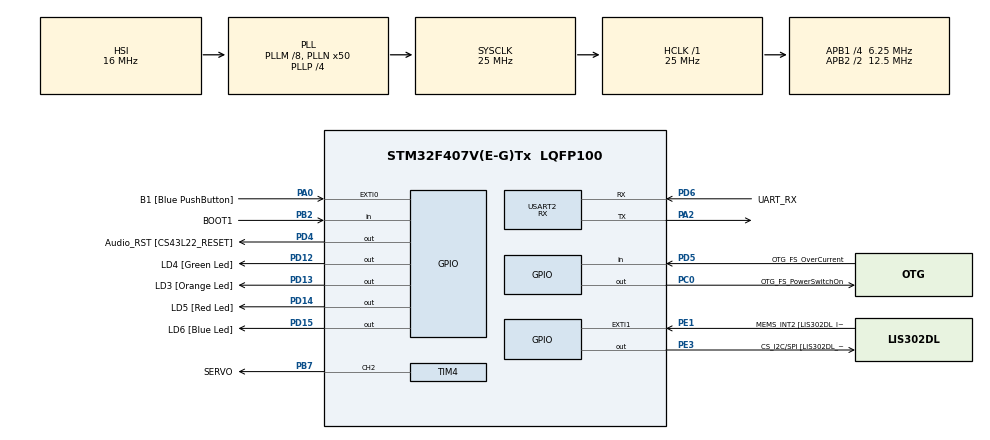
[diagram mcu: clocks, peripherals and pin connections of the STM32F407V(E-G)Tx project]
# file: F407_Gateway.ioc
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Mcu.Family=STM32F4
Mcu.Name=STM32F407V(E-G)Tx
Mcu.Package=LQFP100
NVIC.EXTI0_IRQn=true\:0\:0\:false\:false\:true\:true\:true\:true
NVIC.PriorityGroup=NVIC_PRIORITYGROUP_0
NVIC.TIM4_IRQn=true\:0\:0\:false\:false\:true\:true\:true\:true
NVIC.USART2_IRQn=true\:0\:0\:false\:false\:true\:true\:true\:true
PA0-WKUP.GPIO_Label=B1 [Blue PushButton]
PA0-WKUP.Signal=GPXTI0
PA10.GPIO_Label=OTG_FS_ID
PA10.GPIO_Mode=GPIO_MODE_AF_PP
PA10.GPIO_PuPd=GPIO_NOPULL
PA10.GPIO_Speed=GPIO_SPEED_FREQ_LOW
PA10.Signal=USB_OTG_FS_ID
PA11.GPIO_Label=OTG_FS_DM
PA11.GPIO_Mode=GPIO_MODE_AF_PP
PA11.GPIO_PuPd=GPIO_NOPULL
PA11.GPIO_Speed=GPIO_SPEED_FREQ_LOW
PA11.Signal=USB_OTG_FS_DM
PA12.GPIO_Label=OTG_FS_DP
PA12.GPIO_Mode=GPIO_MODE_AF_PP
PA12.GPIO_PuPd=GPIO_NOPULL
PA12.GPIO_Speed=GPIO_SPEED_FREQ_LOW
PA12.Signal=USB_OTG_FS_DP
PA13.GPIO_Label=SWDIO
PA13.Mode=Serial_Wire
PA13.Signal=SYS_JTMS-SWDIO
PA14.GPIO_Label=SWCLK
PA14.Mode=Serial_Wire
PA14.Signal=SYS_JTCK-SWCLK
PA2.Mode=Asynchronous
PA2.Signal=USART2_TX
PA4.GPIO_Label=I2S3_WS [CS43L22_LRCK]
PA4.GPIO_Mode=GPIO_MODE_AF_PP
PA4.GPIO_PuPd=GPIO_NOPULL
PA4.GPIO_Speed=GPIO_SPEED_FREQ_LOW
PA4.Signal=I2S3_WS
PA5.GPIO_Label=SPI1_SCK [LIS302DL_SCL/SPC]
PA5.GPIO_Mode=GPIO_MODE_AF_PP
PA5.GPIO_PuPd=GPIO_NOPULL
PA5.GPIO_Speed=GPIO_SPEED_FREQ_LOW
PA5.Signal=SPI1_SCK
PA6.GPIO_Label=SPI1_MISO [LIS302DL_SDO]
PA6.GPIO_Mode=GPIO_MODE_AF_PP
PA6.GPIO_PuPd=GPIO_NOPULL
PA6.GPIO_Speed=GPIO_SPEED_FREQ_LOW
PA6.Signal=SPI1_MISO
PA7.GPIO_Label=SPI1_MOSI [LIS302DL_SDA/SDI/SDO]
PA7.GPIO_Mode=GPIO_MODE_AF_PP
PA7.GPIO_PuPd=GPIO_NOPULL
PA7.GPIO_Speed=GPIO_SPEED_FREQ_LOW
PA7.Signal=SPI1_MOSI
PA9.GPIO_Label=VBUS_FS
PA9.GPIO_Mode=GPIO_MODE_INPUT
PA9.GPIO_PuPd=GPIO_NOPULL
PA9.Signal=USB_OTG_FS_VBUS
PB10.GPIO_Label=CLK_IN [MP45DT02_CLK]
PB10.GPIO_Mode=GPIO_MODE_AF_PP
PB10.GPIO_PuPd=GPIO_NOPULL
PB10.GPIO_Speed=GPIO_SPEED_FREQ_LOW
PB10.Signal=I2S2_CK
PB2.GPIO_Label=BOOT1
PB2.GPIO_Mode=GPIO_MODE_INPUT
PB2.GPIO_PuPd=GPIO_NOPULL
PB2.Signal=GPIO_Input
PB3.GPIO_Label=SWO
PB3.Signal=SYS_JTDO-SWO
PB6.GPIO_Label=Audio_SCL [CS43L22_SCL]
PB6.GPIO_Mode=GPIO_MODE_AF_OD
PB6.GPIO_PuPd=GPIO_NOPULL
PB6.GPIO_Speed=GPIO_SPEED_FREQ_LOW
PB6.Signal=I2C1_SCL
PB7.GPIO_Label=SERVO
PB7.Signal=S_TIM4_CH2
PB9.GPIO_Label=Audio_SDA [CS43L22_SDA]
PB9.GPIO_Mode=GPIO_MODE_AF_OD
PB9.GPIO_PuPd=GPIO_NOPULL
PB9.GPIO_Speed=GPIO_SPEED_FREQ_LOW
PB9.Signal=I2C1_SDA
PC0.GPIO_Label=OTG_FS_PowerSwitchOn
PC0.GPIO_PuPd=GPIO_NOPULL
PC0.GPIO_Speed=GPIO_SPEED_FREQ_LOW
PC0.PinState=GPIO_PIN_SET
PC0.Signal=GPIO_Output
PC10.GPIO_Label=I2S3_SCK [CS43L22_SCLK]
PC10.GPIO_Mode=GPIO_MODE_AF_PP
PC10.GPIO_PuPd=GPIO_NOPULL
PC10.GPIO_Speed=GPIO_SPEED_FREQ_LOW
PC10.Signal=I2S3_CK
PC12.GPIO_Label=I2S3_SD [CS43L22_SDIN]
PC12.GPIO_Mode=GPIO_MODE_AF_PP
PC12.GPIO_PuPd=GPIO_NOPULL
PC12.GPIO_Speed=GPIO_SPEED_FREQ_LOW
PC12.Signal=I2S3_SD
PC14-OSC32_IN.GPIO_Label=PC14-OSC32_IN
PC14-OSC32_IN.Signal=RCC_OSC32_IN
PC15-OSC32_OUT.GPIO_Label=PC15-OSC32_OUT
PC15-OSC32_OUT.Signal=RCC_OSC32_OUT
PC3.GPIO_Label=PDM_OUT [MP45DT02_DOUT]
PC3.GPIO_Mode=GPIO_MODE_AF_PP
PC3.GPIO_PuPd=GPIO_NOPULL
PC3.GPIO_Speed=GPIO_SPEED_FREQ_LOW
PC3.Signal=I2S2_SD
PC7.GPIO_Label=I2S3_MCK [CS43L22_MCLK]
PC7.GPIO_Mode=GPIO_MODE_AF_PP
PC7.GPIO_PuPd=GPIO_NOPULL
PC7.GPIO_Speed=GPIO_SPEED_FREQ_LOW
PC7.Signal=I2S3_MCK
PD12.GPIO_Label=LD4 [Green Led]
PD12.GPIO_PuPd=GPIO_NOPULL
PD12.GPIO_Speed=GPIO_SPEED_FREQ_LOW
PD12.Signal=GPIO_Output
PD13.GPIO_Label=LD3 [Orange Led]
PD13.GPIO_PuPd=GPIO_NOPULL
PD13.GPIO_Speed=GPIO_SPEED_FREQ_LOW
PD13.Signal=GPIO_Output
PD14.GPIO_Label=LD5 [Red Led]
PD14.GPIO_PuPd=GPIO_NOPULL
PD14.GPIO_Speed=GPIO_SPEED_FREQ_LOW
PD14.Signal=GPIO_Output
PD15.GPIO_Label=LD6 [Blue Led]
PD15.GPIO_PuPd=GPIO_NOPULL
PD15.GPIO_Speed=GPIO_SPEED_FREQ_LOW
PD15.Signal=GPIO_Output
PD4.GPIO_Label=Audio_RST [CS43L22_RESET]
PD4.GPIO_PuPd=GPIO_NOPULL
PD4.GPIO_Speed=GPIO_SPEED_FREQ_LOW
PD4.Signal=GPIO_Output
PD5.GPIO_Label=OTG_FS_OverCurrent
PD5.GPIO_Mode=GPIO_MODE_INPUT
PD5.GPIO_PuPd=GPIO_NOPULL
PD5.Signal=GPIO_Input
PD6.GPIO_Label=UART_RX
PD6.Mode=Asynchronous
PD6.Signal=USART2_RX
PE1.GPIO_Label=MEMS_INT2 [LIS302DL_INT2]
PE1.GPIO_ModeDefaultEXTI=GPIO_MODE_EVT_RISING
PE1.GPIO_PuPd=GPIO_NOPULL
PE1.Signal=GPXTI1
PE3.GPIO_Label=CS_I2C/SPI [LIS302DL_CS_I2C/SPI]
PE3.GPIO_PuPd=GPIO_NOPULL
PE3.GPIO_Speed=GPIO_SPEED_FREQ_LOW
PE3.Signal=GPIO_Output
PH0-OSC_IN.GPIO_Label=PH0-OSC_IN
PH0-OSC_IN.Signal=RCC_OSC_IN
PH1-OSC_OUT.GPIO_Label=PH1-OSC_OUT
PH1-OSC_OUT.Signal=RCC_OSC_OUT
ProjectManager.HeapSize=0x200
ProjectManager.StackSize=0x400
ProjectManager.TargetToolchain=STM32CubeIDE
RCC.48MHZClocksFreq_Value=14285714.285714285
RCC.AHBFreq_Value=25000000
RCC.APB1CLKDivider=RCC_HCLK_DIV4
RCC.APB1Freq_Value=6250000
RCC.APB1TimFreq_Value=12500000
RCC.APB2CLKDivider=RCC_HCLK_DIV2
RCC.APB2Freq_Value=12500000
RCC.APB2TimFreq_Value=25000000
RCC.CortexFreq_Value=25000000
RCC.HCLKFreq_Value=25000000
RCC.HSE_VALUE=8000000
RCC.HSI_VALUE=16000000
RCC.LSE_VALUE=32768
RCC.PLLM=8
RCC.PLLN=50
RCC.PLLP=RCC_PLLP_DIV4
RCC.PLLQ=7
RCC.SYSCLKFreq_VALUE=25000000
RCC.SYSCLKSource=RCC_SYSCLKSOURCE_PLLCLK
RCC.VCOOutputFreq_Value=100000000
SH.S_TIM4_CH2.0=TIM4_CH2,PWM Generation2 CH2
TIM4.Channel-PWM\ Generation2\ CH2=TIM_CHANNEL_2
TIM4.Period=19999
TIM4.Prescaler=83
TIM4.Pulse-PWM\ Generation2\ CH2=1500
TIM4.TIM_MasterOutputTrigger=TIM_TRGO_UPDATE
USART2.Mode=MODE_RX
USART2.VirtualMode=VM_ASYNC
VP_TIM4_VS_ClockSourceINT.Mode=Internal
board=STM32F407G-DISC1

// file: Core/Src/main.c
/* USER CODE BEGIN Header */
/**
  ******************************************************************************
  * @file           : main.c
  * @brief          : Main program body
  ******************************************************************************
  * @attention
  *
  * Copyright (c) 2026 STMicroelectronics.
  * All rights reserved.
  *
  * This software is licensed under terms that can be found in the LICENSE file
  * in the root directory of this software component.
  * If no LICENSE file comes with this software, it is provided AS-IS.
  *
  ******************************************************************************
  */
/* USER CODE END Header */
#include "main.h"

/* USER CODE BEGIN Includes */
#include <string.h>
#include <stdint.h>
/* USER CODE END Includes */

/* USER CODE BEGIN PTD */
#define SERVO_PULSE_MIN_US  1000
#define SERVO_PULSE_MAX_US  2000
#define ADC_MIN  0
#define ADC_MAX  4095
#define FRAME_HEADER    0xAA
#define CMD_MQ3_VALUE   0x01
#define MAX_DATA_LEN    8
#define DEBUG_LOG_SIZE 20
static volatile uint8_t debugLog[DEBUG_LOG_SIZE][6];
static volatile uint8_t debugLogIdx = 0;

typedef struct {
	uint8_t cmd;
	uint8_t len;
	uint8_t data[MAX_DATA_LEN];
}ParsedFrame_t;

#define FRAME_QUEUE_SIZE 4

typedef struct {
    ParsedFrame_t buf[FRAME_QUEUE_SIZE];
    uint8_t head;
    uint8_t tail;
    uint8_t count;
} FrameQueue_t;

typedef enum {
    WAIT_HEADER,
    WAIT_CMD,
    WAIT_LEN,
    WAIT_DATA,
    WAIT_CRC
} RxState_t;

/* USER CODE END PTD */

TIM_HandleTypeDef htim4;

UART_HandleTypeDef huart2;

/* USER CODE BEGIN PV */
static volatile RxState_t     rxState = WAIT_HEADER;
static volatile uint8_t       rxByte;
static volatile ParsedFrame_t rxFrame;
static volatile uint8_t       rxDataIndex = 0;
static volatile uint32_t      crcErrorCount = 0;

/* USER CODE END PV */

void SystemClock_Config(void);
static void MX_GPIO_Init(void);
static void MX_TIM4_Init(void);
static void MX_USART2_UART_Init(void);

/* USER CODE BEGIN 0 */
static volatile FrameQueue_t frameQueue = {0};

static uint8_t FQ_Push(volatile FrameQueue_t *q, ParsedFrame_t *frame)
{
    if (q->count == FRAME_QUEUE_SIZE) return 0;   /* đầy -> drop frame */
    q->buf[q->head] = *frame;
    q->head = (q->head + 1) % FRAME_QUEUE_SIZE;
    q->count++;
    return 1;
}

static uint8_t FQ_Pop(volatile FrameQueue_t *q, ParsedFrame_t *outFrame)
{
    if (q->count == 0) return 0;   /* rỗng */
    *outFrame = q->buf[q->tail];
    q->tail = (q->tail + 1) % FRAME_QUEUE_SIZE;
    q->count--;
    return 1;
}

static inline uint8_t CalculateCRC(const uint8_t *data, uint8_t len)
{
    uint8_t crc = 0;
    for (uint8_t i = 0; i < len; i++)
        crc ^= data[i];
    return crc;
}

void HAL_UART_RxCpltCallback(UART_HandleTypeDef *huart)
{
    if (huart->Instance != USART2)
        return;
    uint8_t receivedByte = rxByte;
    HAL_UART_Receive_IT(&huart2, (uint8_t*)&rxByte, 1);
    switch (rxState)
    {
        case WAIT_HEADER:
            if (receivedByte == FRAME_HEADER)
                rxState = WAIT_CMD;
            /* không phải header -> bỏ qua, tự đồng bộ lại khi có header đúng */
            break;

        case WAIT_CMD:
            rxFrame.cmd = receivedByte;
            rxState = WAIT_LEN;
            break;

        case WAIT_LEN:
            if (receivedByte > MAX_DATA_LEN)
            {
                /* LEN không hợp lệ -> reset về chờ header, tránh tràn buffer */
                rxState = WAIT_HEADER;
                break;
            }
            rxFrame.len = receivedByte;
            rxDataIndex = 0;
            rxState = (rxFrame.len > 0) ? WAIT_DATA : WAIT_CRC;
            break;

        case WAIT_DATA:
            rxFrame.data[rxDataIndex++] = receivedByte;
            if (rxDataIndex >= rxFrame.len)
                rxState = WAIT_CRC;
            break;

        case WAIT_CRC:
        {
            /* Tính lại CRC để verify - PHẢI cùng công thức với F103:
             * CRC tính trên [CMD, LEN, DATA...] */
            uint8_t checkBuf[2 + MAX_DATA_LEN];
            checkBuf[0] = rxFrame.cmd;
            checkBuf[1] = rxFrame.len;
            for (uint8_t i = 0; i < rxFrame.len; i++)
                checkBuf[2 + i] = rxFrame.data[i];

            uint8_t expectedCrc = CalculateCRC(checkBuf, 2 + rxFrame.len);

            if (receivedByte == expectedCrc)
            {
                ParsedFrame_t frameCopy;
                frameCopy.cmd = rxFrame.cmd;
                frameCopy.len = rxFrame.len;
                memcpy((void*)frameCopy.data, (void*)rxFrame.data, rxFrame.len);
                FQ_Push(&frameQueue, &frameCopy);
            }
            else
            {
                crcErrorCount++;   /* đặt breakpoint / theo dõi biến này khi debug */
            }
            debugLog[debugLogIdx][0] = FRAME_HEADER;
            debugLog[debugLogIdx][1] = rxFrame.cmd;
            debugLog[debugLogIdx][2] = rxFrame.len;
            debugLog[debugLogIdx][3] = rxFrame.data[0];
            debugLog[debugLogIdx][4] = rxFrame.data[1];
            debugLog[debugLogIdx][5] = receivedByte; // CRC nhận được
            debugLogIdx = (debugLogIdx + 1) % DEBUG_LOG_SIZE;
            rxState = WAIT_HEADER;
            break;
        }
    }
    HAL_GPIO_TogglePin(GPIOD, LD4_Pin);
}

static void SetServoAngleFromADC(uint16_t adcValue)
{
    if (adcValue > ADC_MAX) adcValue = ADC_MAX;
    if (adcValue < ADC_MIN) adcValue = ADC_MIN;

    uint32_t pulse = SERVO_PULSE_MIN_US +
        ((uint32_t)(adcValue - ADC_MIN) * (SERVO_PULSE_MAX_US - SERVO_PULSE_MIN_US))
        / (ADC_MAX - ADC_MIN);

    __HAL_TIM_SET_COMPARE(&htim4, TIM_CHANNEL_2, pulse);
}

/* USER CODE END 0 */

int main(void)
{

  /* MCU Configuration--------------------------------------------------------*/

  /* Reset of all peripherals, Initializes the Flash interface and the Systick. */
  HAL_Init();

  /* Configure the system clock */
  SystemClock_Config();

  /* Initialize all configured peripherals */
  MX_GPIO_Init();
  MX_TIM4_Init();
  MX_USART2_UART_Init();
  /* USER CODE BEGIN 2 */
	HAL_TIM_PWM_Start(&htim4, TIM_CHANNEL_2);
	HAL_UART_Receive_IT(&huart2, (uint8_t*) &rxByte, 1);
  /* USER CODE END 2 */

  /* Infinite loop */
  while (1)
  {

    /* USER CODE BEGIN 3 */
	  ParsedFrame_t frame;

		if (FQ_Pop(&frameQueue, &frame)) {
			if (frame.cmd == CMD_MQ3_VALUE && frame.len == 2) {
				uint16_t adcValue = frame.data[0] | (frame.data[1] << 8);
				SetServoAngleFromADC(adcValue);
			}
		}
  }
  /* USER CODE END 3 */
}

void SystemClock_Config(void)
{
  RCC_OscInitTypeDef RCC_OscInitStruct = {0};
  RCC_ClkInitTypeDef RCC_ClkInitStruct = {0};

  /** Configure the main internal regulator output voltage
  */
  __HAL_RCC_PWR_CLK_ENABLE();
  __HAL_PWR_VOLTAGESCALING_CONFIG(PWR_REGULATOR_VOLTAGE_SCALE1);

  /** Initializes the RCC Oscillators according to the specified parameters
  * in the RCC_OscInitTypeDef structure.
  */
  RCC_OscInitStruct.OscillatorType = RCC_OSCILLATORTYPE_HSI;
  RCC_OscInitStruct.HSIState = RCC_HSI_ON;
  RCC_OscInitStruct.HSICalibrationValue = RCC_HSICALIBRATION_DEFAULT;
  RCC_OscInitStruct.PLL.PLLState = RCC_PLL_ON;
  RCC_OscInitStruct.PLL.PLLSource = RCC_PLLSOURCE_HSI;
  RCC_OscInitStruct.PLL.PLLM = 8;
  RCC_OscInitStruct.PLL.PLLN = 50;
  RCC_OscInitStruct.PLL.PLLP = RCC_PLLP_DIV4;
  RCC_OscInitStruct.PLL.PLLQ = 7;
  if (HAL_RCC_OscConfig(&RCC_OscInitStruct) != HAL_OK)
  {
    Error_Handler();
  }

  /** Initializes the CPU, AHB and APB buses clocks
  */
  RCC_ClkInitStruct.ClockType = RCC_CLOCKTYPE_HCLK|RCC_CLOCKTYPE_SYSCLK
                              |RCC_CLOCKTYPE_PCLK1|RCC_CLOCKTYPE_PCLK2;
  RCC_ClkInitStruct.SYSCLKSource = RCC_SYSCLKSOURCE_PLLCLK;
  RCC_ClkInitStruct.AHBCLKDivider = RCC_SYSCLK_DIV1;
  RCC_ClkInitStruct.APB1CLKDivider = RCC_HCLK_DIV4;
  RCC_ClkInitStruct.APB2CLKDivider = RCC_HCLK_DIV2;

  if (HAL_RCC_ClockConfig(&RCC_ClkInitStruct, FLASH_LATENCY_0) != HAL_OK)
  {
    Error_Handler();
  }
}

static void MX_TIM4_Init(void)
{

  TIM_ClockConfigTypeDef sClockSourceConfig = {0};
  TIM_MasterConfigTypeDef sMasterConfig = {0};
  TIM_OC_InitTypeDef sConfigOC = {0};

  htim4.Instance = TIM4;
  htim4.Init.Prescaler = 83;
  htim4.Init.CounterMode = TIM_COUNTERMODE_UP;
  htim4.Init.Period = 19999;
  htim4.Init.ClockDivision = TIM_CLOCKDIVISION_DIV1;
  htim4.Init.AutoReloadPreload = TIM_AUTORELOAD_PRELOAD_DISABLE;
  if (HAL_TIM_Base_Init(&htim4) != HAL_OK)
  {
    Error_Handler();
  }
  sClockSourceConfig.ClockSource = TIM_CLOCKSOURCE_INTERNAL;
  if (HAL_TIM_ConfigClockSource(&htim4, &sClockSourceConfig) != HAL_OK)
  {
    Error_Handler();
  }
  if (HAL_TIM_PWM_Init(&htim4) != HAL_OK)
  {
    Error_Handler();
  }
  sMasterConfig.MasterOutputTrigger = TIM_TRGO_UPDATE;
  sMasterConfig.MasterSlaveMode = TIM_MASTERSLAVEMODE_DISABLE;
  if (HAL_TIMEx_MasterConfigSynchronization(&htim4, &sMasterConfig) != HAL_OK)
  {
    Error_Handler();
  }
  sConfigOC.OCMode = TIM_OCMODE_PWM1;
  sConfigOC.Pulse = 1500;
  sConfigOC.OCPolarity = TIM_OCPOLARITY_HIGH;
  sConfigOC.OCFastMode = TIM_OCFAST_DISABLE;
  if (HAL_TIM_PWM_ConfigChannel(&htim4, &sConfigOC, TIM_CHANNEL_2) != HAL_OK)
  {
    Error_Handler();
  }
  HAL_TIM_MspPostInit(&htim4);

}

static void MX_USART2_UART_Init(void)
{

  huart2.Instance = USART2;
  huart2.Init.BaudRate = 115200;
  huart2.Init.WordLength = UART_WORDLENGTH_8B;
  huart2.Init.StopBits = UART_STOPBITS_1;
  huart2.Init.Parity = UART_PARITY_NONE;
  huart2.Init.Mode = UART_MODE_RX;
  huart2.Init.HwFlowCtl = UART_HWCONTROL_NONE;
  huart2.Init.OverSampling = UART_OVERSAMPLING_16;
  if (HAL_UART_Init(&huart2) != HAL_OK)
  {
    Error_Handler();
  }

}

static void MX_GPIO_Init(void)
{
  GPIO_InitTypeDef GPIO_InitStruct = {0};

  /* GPIO Ports Clock Enable */
  __HAL_RCC_GPIOE_CLK_ENABLE();
  __HAL_RCC_GPIOC_CLK_ENABLE();
  __HAL_RCC_GPIOH_CLK_ENABLE();
  __HAL_RCC_GPIOA_CLK_ENABLE();
  __HAL_RCC_GPIOB_CLK_ENABLE();
  __HAL_RCC_GPIOD_CLK_ENABLE();

  /*Configure GPIO pin Output Level */
  HAL_GPIO_WritePin(CS_I2C_SPI_GPIO_Port, CS_I2C_SPI_Pin, GPIO_PIN_RESET);

  /*Configure GPIO pin Output Level */
  HAL_GPIO_WritePin(OTG_FS_PowerSwitchOn_GPIO_Port, OTG_FS_PowerSwitchOn_Pin, GPIO_PIN_SET);

  /*Configure GPIO pin Output Level */
  HAL_GPIO_WritePin(GPIOD, LD4_Pin|LD3_Pin|LD5_Pin|LD6_Pin
                          |Audio_RST_Pin, GPIO_PIN_RESET);

  /*Configure GPIO pin : CS_I2C_SPI_Pin */
  GPIO_InitStruct.Pin = CS_I2C_SPI_Pin;
  GPIO_InitStruct.Mode = GPIO_MODE_OUTPUT_PP;
  GPIO_InitStruct.Pull = GPIO_NOPULL;
  GPIO_InitStruct.Speed = GPIO_SPEED_FREQ_LOW;
  HAL_GPIO_Init(CS_I2C_SPI_GPIO_Port, &GPIO_InitStruct);

  /*Configure GPIO pin : OTG_FS_PowerSwitchOn_Pin */
  GPIO_InitStruct.Pin = OTG_FS_PowerSwitchOn_Pin;
  GPIO_InitStruct.Mode = GPIO_MODE_OUTPUT_PP;
  GPIO_InitStruct.Pull = GPIO_NOPULL;
  GPIO_InitStruct.Speed = GPIO_SPEED_FREQ_LOW;
  HAL_GPIO_Init(OTG_FS_PowerSwitchOn_GPIO_Port, &GPIO_InitStruct);

  /*Configure GPIO pin : PDM_OUT_Pin */
  GPIO_InitStruct.Pin = PDM_OUT_Pin;
  GPIO_InitStruct.Mode = GPIO_MODE_AF_PP;
  GPIO_InitStruct.Pull = GPIO_NOPULL;
  GPIO_InitStruct.Speed = GPIO_SPEED_FREQ_LOW;
  GPIO_InitStruct.Alternate = GPIO_AF5_SPI2;
  HAL_GPIO_Init(PDM_OUT_GPIO_Port, &GPIO_InitStruct);

  /*Configure GPIO pin : B1_Pin */
  GPIO_InitStruct.Pin = B1_Pin;
  GPIO_InitStruct.Mode = GPIO_MODE_IT_RISING;
  GPIO_InitStruct.Pull = GPIO_NOPULL;
  HAL_GPIO_Init(B1_GPIO_Port, &GPIO_InitStruct);

  /*Configure GPIO pin : I2S3_WS_Pin */
  GPIO_InitStruct.Pin = I2S3_WS_Pin;
  GPIO_InitStruct.Mode = GPIO_MODE_AF_PP;
  GPIO_InitStruct.Pull = GPIO_NOPULL;
  GPIO_InitStruct.Speed = GPIO_SPEED_FREQ_LOW;
  GPIO_InitStruct.Alternate = GPIO_AF6_SPI3;
  HAL_GPIO_Init(I2S3_WS_GPIO_Port, &GPIO_InitStruct);

  /*Configure GPIO pins : SPI1_SCK_Pin SPI1_MISO_Pin SPI1_MOSI_Pin */
  GPIO_InitStruct.Pin = SPI1_SCK_Pin|SPI1_MISO_Pin|SPI1_MOSI_Pin;
  GPIO_InitStruct.Mode = GPIO_MODE_AF_PP;
  GPIO_InitStruct.Pull = GPIO_NOPULL;
  GPIO_InitStruct.Speed = GPIO_SPEED_FREQ_LOW;
  GPIO_InitStruct.Alternate = GPIO_AF5_SPI1;
  HAL_GPIO_Init(GPIOA, &GPIO_InitStruct);

  /*Configure GPIO pin : BOOT1_Pin */
  GPIO_InitStruct.Pin = BOOT1_Pin;
  GPIO_InitStruct.Mode = GPIO_MODE_INPUT;
  GPIO_InitStruct.Pull = GPIO_NOPULL;
  HAL_GPIO_Init(BOOT1_GPIO_Port, &GPIO_InitStruct);

  /*Configure GPIO pin : CLK_IN_Pin */
  GPIO_InitStruct.Pin = CLK_IN_Pin;
  GPIO_InitStruct.Mode = GPIO_MODE_AF_PP;
  GPIO_InitStruct.Pull = GPIO_NOPULL;
  GPIO_InitStruct.Speed = GPIO_SPEED_FREQ_LOW;
  GPIO_InitStruct.Alternate = GPIO_AF5_SPI2;
  HAL_GPIO_Init(CLK_IN_GPIO_Port, &GPIO_InitStruct);

  /*Configure GPIO pins : LD4_Pin LD3_Pin LD5_Pin LD6_Pin
                           Audio_RST_Pin */
  GPIO_InitStruct.Pin = LD4_Pin|LD3_Pin|LD5_Pin|LD6_Pin
                          |Audio_RST_Pin;
  GPIO_InitStruct.Mode = GPIO_MODE_OUTPUT_PP;
  GPIO_InitStruct.Pull = GPIO_NOPULL;
  GPIO_InitStruct.Speed = GPIO_SPEED_FREQ_LOW;
  HAL_GPIO_Init(GPIOD, &GPIO_InitStruct);

  /*Configure GPIO pins : I2S3_MCK_Pin I2S3_SCK_Pin I2S3_SD_Pin */
  GPIO_InitStruct.Pin = I2S3_MCK_Pin|I2S3_SCK_Pin|I2S3_SD_Pin;
  GPIO_InitStruct.Mode = GPIO_MODE_AF_PP;
  GPIO_InitStruct.Pull = GPIO_NOPULL;
  GPIO_InitStruct.Speed = GPIO_SPEED_FREQ_LOW;
  GPIO_InitStruct.Alternate = GPIO_AF6_SPI3;
  HAL_GPIO_Init(GPIOC, &GPIO_InitStruct);

  /*Configure GPIO pin : VBUS_FS_Pin */
  GPIO_InitStruct.Pin = VBUS_FS_Pin;
  GPIO_InitStruct.Mode = GPIO_MODE_INPUT;
  GPIO_InitStruct.Pull = GPIO_NOPULL;
  HAL_GPIO_Init(VBUS_FS_GPIO_Port, &GPIO_InitStruct);

  /*Configure GPIO pins : OTG_FS_ID_Pin OTG_FS_DM_Pin OTG_FS_DP_Pin */
  GPIO_InitStruct.Pin = OTG_FS_ID_Pin|OTG_FS_DM_Pin|OTG_FS_DP_Pin;
  GPIO_InitStruct.Mode = GPIO_MODE_AF_PP;
  GPIO_InitStruct.Pull = GPIO_NOPULL;
  GPIO_InitStruct.Speed = GPIO_SPEED_FREQ_LOW;
  GPIO_InitStruct.Alternate = GPIO_AF10_OTG_FS;
  HAL_GPIO_Init(GPIOA, &GPIO_InitStruct);

  /*Configure GPIO pin : OTG_FS_OverCurrent_Pin */
  GPIO_InitStruct.Pin = OTG_FS_OverCurrent_Pin;
  GPIO_InitStruct.Mode = GPIO_MODE_INPUT;
  GPIO_InitStruct.Pull = GPIO_NOPULL;
  HAL_GPIO_Init(OTG_FS_OverCurrent_GPIO_Port, &GPIO_InitStruct);

  /*Configure GPIO pins : Audio_SCL_Pin Audio_SDA_Pin */
  GPIO_InitStruct.Pin = Audio_SCL_Pin|Audio_SDA_Pin;
  GPIO_InitStruct.Mode = GPIO_MODE_AF_OD;
  GPIO_InitStruct.Pull = GPIO_NOPULL;
  GPIO_InitStruct.Speed = GPIO_SPEED_FREQ_LOW;
  GPIO_InitStruct.Alternate = GPIO_AF4_I2C1;
  HAL_GPIO_Init(GPIOB, &GPIO_InitStruct);

  /*Configure GPIO pin : MEMS_INT2_Pin */
  GPIO_InitStruct.Pin = MEMS_INT2_Pin;
  GPIO_InitStruct.Mode = GPIO_MODE_EVT_RISING;
  GPIO_InitStruct.Pull = GPIO_NOPULL;
  HAL_GPIO_Init(MEMS_INT2_GPIO_Port, &GPIO_InitStruct);

  /* EXTI interrupt init*/
  HAL_NVIC_SetPriority(EXTI0_IRQn, 0, 0);
  HAL_NVIC_EnableIRQ(EXTI0_IRQn);

}

void Error_Handler(void)
{
  __disable_irq();
  while (1)
  {
  }
}
